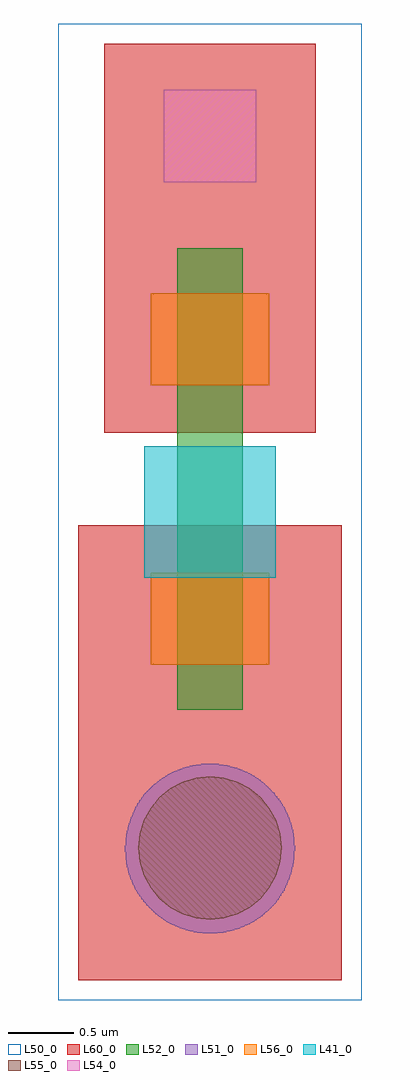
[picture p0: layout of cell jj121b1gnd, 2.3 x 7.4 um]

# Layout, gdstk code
import gdstk
lib = gdstk.Library(unit=1e-6, precision=1e-09)
def R(c, l, rs):  # rectangles x0, y0, x1, y1
    for r in rs: c.add(gdstk.rectangle(r[:2], r[2:], *l))
def P(c, l, *ps):  # polygons
    for p in ps: c.add(gdstk.Polygon(p, *l))
L41_0 = (41, 0)
L50_0 = (50, 0)
L51_0 = (51, 0)
L52_0 = (52, 0)
L54_0 = (54, 0)
L55_0 = (55, 0)
L56_0 = (56, 0)
L60_0 = (60, 0)

jj121b1gnd = lib.new_cell('jj121b1gnd')
R(jj121b1gnd, L41_0, [(-0.5,2.05,0.5,3.05)])
R(jj121b1gnd, L50_0, [(-1.15,-1.15,1.15,6.25)])
P(jj121b1gnd, L51_0, [(0,-0.645),(0.055,-0.645),(0.055,-0.64),(0.1,-0.64),(0.1,-0.635),(0.125,-0.635),(0.125,-0.63),(0.15,-0.63),(0.15,-0.625),(0.17,-0.625),(0.17,-0.62),(0.185,-0.62),(0.185,-0.615),(0.205,-0.615),(0.205,-0.61),(0.22,-0.61),(0.22,-0.605),(0.23,-0.605),(0.23,-0.6),(0.245,-0.6),(0.245,-0.595),(0.255,-0.595),(0.255,-0.59),(0.265,-0.59),(0.265,-0.585),(0.28,-0.585),(0.28,-0.58),(0.285,-0.58),(0.285,-0.575),(0.3,-0.575),(0.3,-0.57),(0.305,-0.57),(0.305,-0.565),(0.315,-0.565),(0.315,-0.56),(0.325,-0.56),(0.325,-0.555),(0.335,-0.555),(0.335,-0.55),(0.34,-0.55),(0.34,-0.545),(0.35,-0.545),(0.35,-0.54),(0.355,-0.54),(0.355,-0.535),(0.365,-0.535),(0.365,-0.53),(0.37,-0.53),(0.37,-0.525),(0.38,-0.525),(0.38,-0.52),(0.385,-0.52),(0.385,-0.515),(0.395,-0.515),(0.395,-0.51),(0.4,-0.51),(0.4,-0.505),(0.405,-0.505),(0.405,-0.5),(0.41,-0.5),(0.41,-0.495),(0.415,-0.495),(0.415,-0.49),(0.42,-0.49),(0.42,-0.485),(0.425,-0.485),(0.425,-0.48),(0.435,-0.48),(0.435,-0.475),(0.44,-0.475),(0.44,-0.47),(0.445,-0.47),(0.445,-0.465),(0.45,-0.465),(0.45,-0.46),(0.455,-0.46),(0.455,-0.455),(0.46,-0.455),(0.46,-0.45),(0.465,-0.45),(0.465,-0.445),(0.47,-0.445),(0.47,-0.44),(0.475,-0.44),(0.475,-0.435),(0.48,-0.435),(0.48,-0.43),(0.485,-0.43),(0.485,-0.425),(0.49,-0.425),(0.49,-0.42),(0.495,-0.42),(0.495,-0.415),(0.5,-0.415),(0.5,-0.41),(0.505,-0.41),(0.505,-0.405),(0.505,-0.395),(0.51,-0.395),(0.515,-0.395),(0.515,-0.39),(0.52,-0.39),(0.52,-0.385),(0.52,-0.375),(0.525,-0.375),(0.53,-0.375),(0.53,-0.37),(0.53,-0.36),(0.535,-0.36),(0.54,-0.36),(0.54,-0.355),(0.54,-0.345),(0.545,-0.345),(0.545,-0.335),(0.55,-0.335),(0.555,-0.335),(0.555,-0.33),(0.555,-0.32),(0.56,-0.32),(0.565,-0.32),(0.565,-0.315),(0.565,-0.3),(0.57,-0.3),(0.575,-0.3),(0.575,-0.295),(0.575,-0.285),(0.58,-0.285),(0.58,-0.275),(0.585,-0.275),(0.585,-0.26),(0.59,-0.26),(0.59,-0.25),(0.595,-0.25),(0.595,-0.24),(0.6,-0.24),(0.6,-0.225),(0.605,-0.225),(0.605,-0.21),(0.61,-0.21),(0.61,-0.195),(0.615,-0.195),(0.615,-0.18),(0.62,-0.18),(0.62,-0.16),(0.625,-0.16),(0.625,-0.14),(0.63,-0.14),(0.63,-0.115),(0.635,-0.115),(0.635,-0.085),(0.64,-0.085),(0.64,-0.02),(0.645,-0.02),(0.645,0.02),(0.64,0.02),(0.64,0.085),(0.635,0.085),(0.635,0.115),(0.63,0.115),(0.63,0.14),(0.625,0.14),(0.625,0.16),(0.62,0.16),(0.62,0.18),(0.615,0.18),(0.615,0.195),(0.61,0.195),(0.61,0.21),(0.605,0.21),(0.605,0.225),(0.6,0.225),(0.6,0.235),(0.595,0.235),(0.595,0.25),(0.59,0.25),(0.59,0.26),(0.585,0.26),(0.585,0.27),(0.58,0.27),(0.58,0.28),(0.575,0.28),(0.575,0.29),(0.57,0.29),(0.57,0.3),(0.565,0.3),(0.565,0.31),(0.56,0.31),(0.56,0.32),(0.555,0.32),(0.55,0.32),(0.55,0.325),(0.55,0.335),(0.545,0.335),(0.545,0.345),(0.54,0.345),(0.535,0.345),(0.535,0.35),(0.535,0.36),(0.53,0.36),(0.525,0.36),(0.525,0.365),(0.525,0.375),(0.52,0.375),(0.515,0.375),(0.515,0.38),(0.51,0.38),(0.51,0.385),(0.51,0.395),(0.505,0.395),(0.5,0.395),(0.5,0.4),(0.495,0.4),(0.495,0.405),(0.49,0.405),(0.49,0.41),(0.49,0.42),(0.485,0.42),(0.48,0.42),(0.48,0.425),(0.475,0.425),(0.475,0.43),(0.47,0.43),(0.47,0.435),(0.465,0.435),(0.465,0.44),(0.46,0.44),(0.46,0.445),(0.455,0.445),(0.455,0.45),(0.45,0.45),(0.45,0.455),(0.445,0.455),(0.445,0.46),(0.44,0.46),(0.44,0.465),(0.435,0.465),(0.435,0.47),(0.43,0.47),(0.43,0.475),(0.425,0.475),(0.425,0.48),(0.42,0.48),(0.42,0.485),(0.415,0.485),(0.415,0.49),(0.41,0.49),(0.41,0.495),(0.405,0.495),(0.405,0.5),(0.395,0.5),(0.395,0.505),(0.39,0.505),(0.39,0.51),(0.385,0.51),(0.385,0.515),(0.38,0.515),(0.38,0.52),(0.37,0.52),(0.37,0.525),(0.365,0.525),(0.365,0.53),(0.355,0.53),(0.355,0.535),(0.35,0.535),(0.35,0.54),(0.34,0.54),(0.34,0.545),(0.335,0.545),(0.335,0.55),(0.325,0.55),(0.325,0.555),(0.315,0.555),(0.315,0.56),(0.305,0.56),(0.305,0.565),(0.3,0.565),(0.3,0.57),(0.285,0.57),(0.285,0.575),(0.28,0.575),(0.28,0.58),(0.265,0.58),(0.265,0.585),(0.255,0.585),(0.255,0.59),(0.245,0.59),(0.245,0.595),(0.23,0.595),(0.23,0.6),(0.22,0.6),(0.22,0.605),(0.205,0.605),(0.205,0.61),(0.185,0.61),(0.185,0.615),(0.17,0.615),(0.17,0.62),(0.15,0.62),(0.15,0.625),(0.13,0.625),(0.13,0.63),(0.1,0.63),(0.1,0.635),(0.065,0.635),(0.065,0.64),(-0.065,0.64),(-0.065,0.635),(-0.105,0.635),(-0.105,0.63),(-0.13,0.63),(-0.13,0.625),(-0.155,0.625),(-0.155,0.62),(-0.175,0.62),(-0.175,0.615),(-0.19,0.615),(-0.19,0.61),(-0.205,0.61),(-0.205,0.605),(-0.22,0.605),(-0.22,0.6),(-0.23,0.6),(-0.23,0.595),(-0.245,0.595),(-0.245,0.59),(-0.26,0.59),(-0.26,0.585),(-0.27,0.585),(-0.27,0.58),(-0.28,0.58),(-0.28,0.575),(-0.29,0.575),(-0.29,0.57),(-0.3,0.57),(-0.3,0.565),(-0.31,0.565),(-0.31,0.56),(-0.32,0.56),(-0.32,0.555),(-0.325,0.555),(-0.325,0.55),(-0.335,0.55),(-0.335,0.545),(-0.34,0.545),(-0.34,0.54),(-0.35,0.54),(-0.35,0.535),(-0.36,0.535),(-0.36,0.53),(-0.365,0.53),(-0.365,0.525),(-0.375,0.525),(-0.375,0.52),(-0.38,0.52),(-0.38,0.515),(-0.385,0.515),(-0.385,0.51),(-0.395,0.51),(-0.395,0.505),(-0.4,0.505),(-0.4,0.5),(-0.405,0.5),(-0.405,0.495),(-0.41,0.495),(-0.41,0.49),(-0.42,0.49),(-0.42,0.485),(-0.425,0.485),(-0.425,0.48),(-0.43,0.48),(-0.43,0.475),(-0.435,0.475),(-0.435,0.47),(-0.44,0.47),(-0.44,0.465),(-0.445,0.465),(-0.445,0.46),(-0.45,0.46),(-0.45,0.455),(-0.455,0.455),(-0.455,0.45),(-0.46,0.45),(-0.46,0.445),(-0.465,0.445),(-0.465,0.44),(-0.47,0.44),(-0.47,0.435),(-0.475,0.435),(-0.475,0.43),(-0.48,0.43),(-0.48,0.425),(-0.485,0.425),(-0.485,0.42),(-0.49,0.42),(-0.49,0.415),(-0.495,0.415),(-0.495,0.41),(-0.5,0.41),(-0.5,0.405),(-0.505,0.405),(-0.505,0.4),(-0.505,0.39),(-0.51,0.39),(-0.515,0.39),(-0.515,0.385),(-0.52,0.385),(-0.52,0.38),(-0.52,0.37),(-0.525,0.37),(-0.53,0.37),(-0.53,0.365),(-0.535,0.365),(-0.535,0.36),(-0.535,0.35),(-0.54,0.35),(-0.54,0.34),(-0.545,0.34),(-0.55,0.34),(-0.55,0.335),(-0.55,0.325),(-0.555,0.325),(-0.555,0.315),(-0.56,0.315),(-0.565,0.315),(-0.565,0.31),(-0.565,0.3),(-0.57,0.3),(-0.57,0.29),(-0.575,0.29),(-0.575,0.28),(-0.58,0.28),(-0.58,0.27),(-0.585,0.27),(-0.585,0.255),(-0.59,0.255),(-0.59,0.245),(-0.595,0.245),(-0.595,0.235),(-0.6,0.235),(-0.6,0.22),(-0.605,0.22),(-0.605,0.205),(-0.61,0.205),(-0.61,0.19),(-0.615,0.19),(-0.615,0.175),(-0.62,0.175),(-0.62,0.16),(-0.625,0.16),(-0.625,0.135),(-0.63,0.135),(-0.63,0.11),(-0.635,0.11),(-0.635,0.08),(-0.64,0.08),(-0.64,0.02),(-0.645,0.02),(-0.645,-0.025),(-0.64,-0.025),(-0.64,-0.085),(-0.635,-0.085),(-0.635,-0.12),(-0.63,-0.12),(-0.63,-0.145),(-0.625,-0.145),(-0.625,-0.165),(-0.62,-0.165),(-0.62,-0.185),(-0.615,-0.185),(-0.615,-0.2),(-0.61,-0.2),(-0.61,-0.215),(-0.605,-0.215),(-0.605,-0.23),(-0.6,-0.23),(-0.6,-0.24),(-0.595,-0.24),(-0.595,-0.255),(-0.59,-0.255),(-0.59,-0.265),(-0.585,-0.265),(-0.585,-0.275),(-0.58,-0.275),(-0.58,-0.285),(-0.575,-0.285),(-0.575,-0.295),(-0.57,-0.295),(-0.57,-0.305),(-0.565,-0.305),(-0.565,-0.315),(-0.56,-0.315),(-0.56,-0.325),(-0.555,-0.325),(-0.55,-0.325),(-0.55,-0.33),(-0.55,-0.34),(-0.545,-0.34),(-0.545,-0.35),(-0.54,-0.35),(-0.535,-0.35),(-0.535,-0.355),(-0.535,-0.365),(-0.53,-0.365),(-0.525,-0.365),(-0.525,-0.37),(-0.52,-0.37),(-0.52,-0.375),(-0.52,-0.385),(-0.515,-0.385),(-0.51,-0.385),(-0.51,-0.39),(-0.505,-0.39),(-0.505,-0.395),(-0.505,-0.405),(-0.5,-0.405),(-0.495,-0.405),(-0.495,-0.41),(-0.49,-0.41),(-0.49,-0.415),(-0.485,-0.415),(-0.485,-0.42),(-0.485,-0.43),(-0.48,-0.43),(-0.475,-0.43),(-0.475,-0.435),(-0.47,-0.435),(-0.47,-0.44),(-0.465,-0.44),(-0.465,-0.445),(-0.46,-0.445),(-0.46,-0.45),(-0.455,-0.45),(-0.455,-0.455),(-0.45,-0.455),(-0.45,-0.46),(-0.445,-0.46),(-0.445,-0.465),(-0.44,-0.465),(-0.44,-0.47),(-0.435,-0.47),(-0.435,-0.475),(-0.43,-0.475),(-0.43,-0.48),(-0.425,-0.48),(-0.425,-0.485),(-0.42,-0.485),(-0.42,-0.49),(-0.415,-0.49),(-0.415,-0.495),(-0.41,-0.495),(-0.41,-0.5),(-0.4,-0.5),(-0.4,-0.505),(-0.395,-0.505),(-0.395,-0.51),(-0.39,-0.51),(-0.39,-0.515),(-0.385,-0.515),(-0.385,-0.52),(-0.375,-0.52),(-0.375,-0.525),(-0.37,-0.525),(-0.37,-0.53),(-0.36,-0.53),(-0.36,-0.535),(-0.355,-0.535),(-0.355,-0.54),(-0.345,-0.54),(-0.345,-0.545),(-0.34,-0.545),(-0.34,-0.55),(-0.33,-0.55),(-0.33,-0.555),(-0.325,-0.555),(-0.325,-0.56),(-0.315,-0.56),(-0.315,-0.565),(-0.305,-0.565),(-0.305,-0.57),(-0.295,-0.57),(-0.295,-0.575),(-0.285,-0.575),(-0.285,-0.58),(-0.275,-0.58),(-0.275,-0.585),(-0.265,-0.585),(-0.265,-0.59),(-0.25,-0.59),(-0.25,-0.595),(-0.24,-0.595),(-0.24,-0.6),(-0.23,-0.6),(-0.23,-0.605),(-0.215,-0.605),(-0.215,-0.61),(-0.2,-0.61),(-0.2,-0.615),(-0.185,-0.615),(-0.185,-0.62),(-0.165,-0.62),(-0.165,-0.625),(-0.15,-0.625),(-0.15,-0.63),(-0.125,-0.63),(-0.125,-0.635),(-0.095,-0.635),(-0.095,-0.64),(-0.055,-0.64),(-0.055,-0.645)])
R(jj121b1gnd, L52_0, [(-0.25,1.05,0.25,4.55)])
R(jj121b1gnd, L54_0, [(-0.35,5.05,0.35,5.75)])
P(jj121b1gnd, L55_0, [(0,-0.54),(0.106,-0.53),(0.208,-0.499),(0.302,-0.449),(0.384,-0.381),(0.451,-0.299),(0.502,-0.205),(0.532,-0.103),(0.543,0.003),(0.532,0.109),(0.502,0.211),(0.451,0.304),(0.384,0.387),(0.302,0.454),(0.208,0.504),(0.106,0.535),(0,0.546),(-0.106,0.535),(-0.208,0.504),(-0.302,0.454),(-0.384,0.387),(-0.451,0.304),(-0.502,0.211),(-0.532,0.109),(-0.543,0.003),(-0.532,-0.103),(-0.502,-0.205),(-0.451,-0.299),(-0.384,-0.381),(-0.302,-0.449),(-0.208,-0.499),(-0.106,-0.53)])
R(jj121b1gnd, L56_0, [(-0.45,1.39,0.45,2.09), (-0.45,3.51,0.45,4.21)])
R(jj121b1gnd, L60_0, [(-1,-1,1,2.45), (-0.8,3.15,0.8,6.1)])

lib.write_gds('jj121b1gnd.gds')
